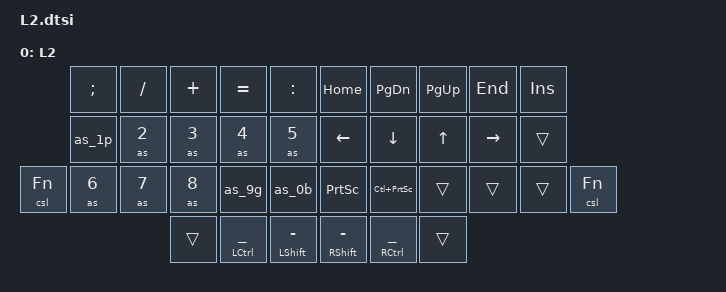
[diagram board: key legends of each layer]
/**
 * Numeric, Navigation and Symbols Layer
 */

/ {
  keymap {
    compatible = "zmk,keymap";

    layer_2 {
      display-name = "L2";
      bindings = <
//                 ╭───────────────┬───────────────┬───────────────┬───────────────┬───────────────╮   ╭───────────────┬───────────────┬───────────────┬───────────────┬───────────────╮
//                 │0              │1              │2              │3              │4              │   │5              │6              │7              │8              │9              │
                    &kp SEMI        &kp FSLH        &kp PLUS        &kp EQUAL       &kp COLON           &kp HOME        &kp PG_DN       &kp PG_UP       &kp END         &kp INS
//                 ├───────────────┼───────────────┼───────────────┼───────────────┼───────────────┤   ├───────────────├───────────────┼───────────────┼───────────────┼───────────────┤
//                 │10             │11             │12             │13             │14             │   │15             │16             │17             │18             │19             │
                    &as_1p          &as N2          &as N3          &as N4          &as N5              &kp LEFT        &kp DOWN        &kp UP          &kp RIGHT       &trans
// ╭───────────────┬───────────────┼───────────────┼───────────────┼───────────────┼───────────────┤   ├───────────────├───────────────┼───────────────┼───────────────┼───────────────┬───────────────╮
//  20             │21             │22             │23             │24             │25             │   │26             │27             │28             │29             │30             │31             │
    &csl Fn         &as N6          &as N7          &as N8          &as_9g          &as_0b              &kp PSCRN       &kp LC(PSCRN)   &trans          &trans          &trans          &csl Fn
// ╰───────────────┴───────────────┴───────────────┼───────────────┼───────────────┼───────────────┤   ├───────────────├───────────────┼───────────────┼───────────────┴───────────────┴───────────────╯
//                                                 │32             │33             │34             │   │35             │36             │37             │
                                                    &trans          &mt LCTRL UNDER &mt LSHFT MINUS     &mt RSHFT MINUS &mt RCTRL UNDER &trans
//                                                 ╰───────────────┴───────────────┴───────────────╯   ╰───────────────┴───────────────┴───────────────╯
      >;
    };
  };
};
